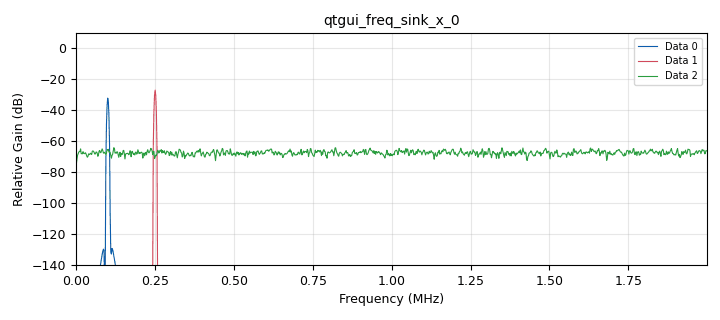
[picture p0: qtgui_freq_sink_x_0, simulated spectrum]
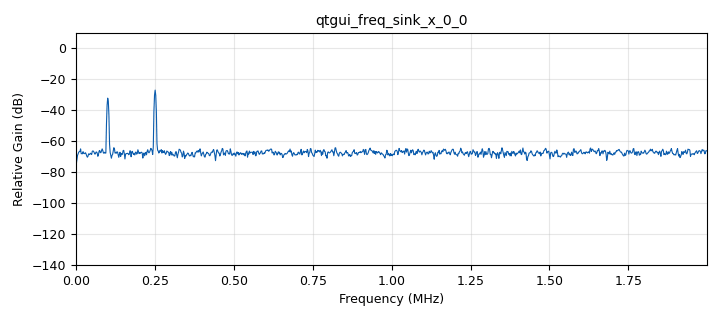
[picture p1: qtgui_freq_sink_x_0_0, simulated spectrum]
options:
  parameters:
    generate_options: qt_gui
    id: lab1_6
    output_language: python
    title: Not titled yet
  states: {}

blocks:
- name: samp_rate
  id: variable
  parameters:
    value: '4000000'
  states: {}
- name: analog_noise_source_x_0
  id: analog_noise_source_x
  parameters:
    amp: '0.05'
    noise_type: analog.GR_GAUSSIAN
    seed: '0'
    type: float
  states: {}
- name: analog_sig_source_x_0
  id: analog_sig_source_x
  parameters:
    amp: '0.140'
    freq: '100000'
    offset: '0'
    phase: '0'
    samp_rate: samp_rate
    type: float
    waveform: analog.GR_COS_WAVE
  states: {}
- name: analog_sig_source_x_0_0
  id: analog_sig_source_x
  parameters:
    amp: '0.250'
    freq: '250000'
    offset: '0'
    phase: '0'
    samp_rate: samp_rate
    type: float
    waveform: analog.GR_COS_WAVE
  states: {}
- name: blocks_add_xx_0
  id: blocks_add_xx
  parameters:
    num_inputs: '3'
    type: float
  states: {}
- name: qtgui_freq_sink_x_0
  id: qtgui_freq_sink_x
  parameters:
    average: '0.05'
    bw: samp_rate
    ctrlpanel: 'True'
    fc: '0'
    fftsize: '2048'
    freqhalf: 'False'
    nconnections: '3'
    type: float
  states: {}
- name: qtgui_freq_sink_x_0_0
  id: qtgui_freq_sink_x
  parameters:
    average: '0.05'
    bw: samp_rate
    ctrlpanel: 'True'
    fc: '0'
    fftsize: '2048'
    freqhalf: 'False'
    type: float
  states: {}

connections:
- [analog_noise_source_x_0, '0', blocks_add_xx_0, '2']
- [analog_noise_source_x_0, '0', qtgui_freq_sink_x_0, '2']
- [analog_sig_source_x_0, '0', blocks_add_xx_0, '0']
- [analog_sig_source_x_0, '0', qtgui_freq_sink_x_0, '0']
- [analog_sig_source_x_0_0, '0', blocks_add_xx_0, '1']
- [analog_sig_source_x_0_0, '0', qtgui_freq_sink_x_0, '1']
- [blocks_add_xx_0, '0', qtgui_freq_sink_x_0_0, '0']

metadata:
  file_format: 1
  grc_version: 3.10.12.0
